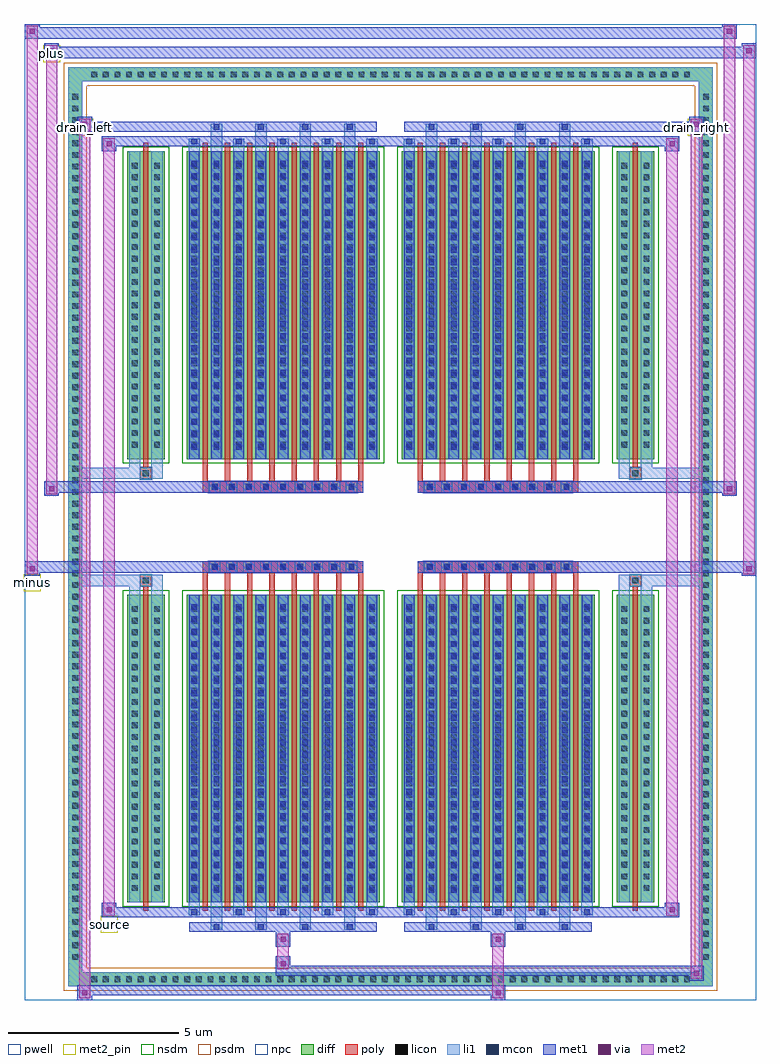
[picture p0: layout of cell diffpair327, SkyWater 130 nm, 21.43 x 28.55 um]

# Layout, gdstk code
import gdstk
lib = gdstk.Library(unit=1e-6, precision=5e-09)
def R(c, l, rs):  # rectangles x0, y0, x1, y1
    for r in rs: c.add(gdstk.rectangle(r[:2], r[2:], *l))
def A(c, l, x, y, w, h, nx, ny, dx, dy):  # array of equal rectangles
    R(c, l, [(x+i*dx, y+j*dy, x+i*dx+w, y+j*dy+h) for i in range(nx) for j in range(ny)])
def P(c, l, *ps):  # polygons
    for p in ps: c.add(gdstk.Polygon(p, *l))
pwell = (64, 44)
diff = (65, 20)
poly = (66, 20)
licon = (66, 44)
li1 = (67, 20)
mcon = (67, 44)
met1 = (68, 20)
via = (68, 44)
met2_pin = (69, 16)
met2 = (69, 20)
nsdm = (93, 44)
psdm = (94, 20)
npc = (95, 20)

diffpair327 = lib.new_cell('diffpair327')
R(diffpair327, pwell, [(-10.7,-13.84,10.7,14.71), (-8.02,-12.03,-0.01,-0.805), (0.01,-12.03,8.02,-0.805), (-8.02,0.805,-0.01,12.03), (0.01,0.805,8.02,12.03)])
A(diffpair327, diff, -8.875, -13.44, 0.41, 0.41, 52, 2, 0.34, 26.47)
A(diffpair327, diff, -9.43, -12.785, 0.41, 0.41, 1, 75, 0, 0.34)
A(diffpair327, diff, 9.02, -12.785, 0.41, 0.41, 1, 75, 0, 0.34)
R(diffpair327, diff, [(-8.875,-13.44,8.875,-13.03), (-9.43,-12.785,-9.02,12.785), (9.02,-12.785,9.43,12.785), (-7.71,-10.985,-6.61,-1.985), (-5.97,-10.985,-0.32,-1.985), (0.32,-10.985,5.97,-1.985), (6.61,-10.985,7.71,-1.985), (-7.71,1.985,-6.61,10.985), (-5.97,1.985,-0.32,10.985), (0.32,1.985,5.97,10.985), (6.61,1.985,7.71,10.985), (-8.875,13.03,8.875,13.44)])
P(diffpair327, diff, [(9.43,13.44),(-9.43,13.44),(-9.43,-13.03),(-9.02,-13.03),(-9.02,13.03),(9.02,13.03),(9.02,-13.03),(-9.02,-13.03),(-9.43,-13.03),(-9.43,-13.44),(9.43,-13.44)])
A(diffpair327, poly, -5.495, -11.235, 0.15, 9.5, 8, 2, 0.65, 12.97)
A(diffpair327, poly, 0.795, -11.235, 0.15, 9.5, 8, 2, 0.65, 12.97)
A(diffpair327, poly, -5.495, -1.735, 0.15, 0.4, 8, 2, 0.65, 3.07)
A(diffpair327, poly, 0.795, -1.735, 0.15, 0.4, 8, 2, 0.65, 3.07)
A(diffpair327, poly, -5.31, -1.335, 0.33, 0.33, 9, 2, 0.5, 2.34)
A(diffpair327, poly, 0.98, -1.335, 0.33, 0.33, 9, 2, 0.5, 2.34)
R(diffpair327, poly, [(-7.235,-11.235,-7.085,-1.735), (7.085,-11.235,7.235,-1.735), (-7.325,-1.735,-6.995,-1.405), (-7.325,-1.735,-6.995,-1.405), (6.995,-1.735,7.325,-1.405), (6.995,-1.735,7.325,-1.405), (-5.495,-1.335,-0.795,-1.005), (0.795,-1.335,5.495,-1.005), (-5.495,1.005,-0.795,1.335), (0.795,1.005,5.495,1.335), (-7.325,1.405,-6.995,1.735), (-7.325,1.405,-6.995,1.735), (6.995,1.405,7.325,1.735), (6.995,1.405,7.325,1.735), (-7.235,1.735,-7.085,11.235), (7.085,1.735,7.235,11.235)])
A(diffpair327, licon, -8.755, -13.32, 0.17, 0.17, 52, 2, 0.34, 26.47)
A(diffpair327, licon, -9.31, -12.665, 0.17, 0.17, 1, 75, 0, 0.34)
A(diffpair327, licon, 9.14, -12.665, 0.17, 0.17, 1, 75, 0, 0.34)
A(diffpair327, licon, -7.57, -10.65, 0.17, 0.17, 1, 25, 0, 0.34)
A(diffpair327, licon, -6.92, -10.65, 0.17, 0.17, 1, 25, 0, 0.34)
A(diffpair327, licon, -5.83, -10.65, 0.17, 0.17, 9, 25, 0.65, 0.34)
A(diffpair327, licon, 0.46, -10.65, 0.17, 0.17, 9, 25, 0.65, 0.34)
A(diffpair327, licon, 6.75, -10.65, 0.17, 0.17, 1, 25, 0, 0.34)
A(diffpair327, licon, 7.4, -10.65, 0.17, 0.17, 1, 25, 0, 0.34)
A(diffpair327, licon, -5.23, -1.255, 0.17, 0.17, 9, 2, 0.5, 2.34)
A(diffpair327, licon, 1.06, -1.255, 0.17, 0.17, 9, 2, 0.5, 2.34)
A(diffpair327, licon, -7.57, 2.32, 0.17, 0.17, 1, 25, 0, 0.34)
A(diffpair327, licon, -6.92, 2.32, 0.17, 0.17, 1, 25, 0, 0.34)
A(diffpair327, licon, -5.83, 2.32, 0.17, 0.17, 9, 25, 0.65, 0.34)
A(diffpair327, licon, 0.46, 2.32, 0.17, 0.17, 9, 25, 0.65, 0.34)
A(diffpair327, licon, 6.75, 2.32, 0.17, 0.17, 1, 25, 0, 0.34)
A(diffpair327, licon, 7.4, 2.32, 0.17, 0.17, 1, 25, 0, 0.34)
R(diffpair327, licon, [(-7.245,-1.655,-7.075,-1.485), (7.075,-1.655,7.245,-1.485), (-7.245,1.485,-7.075,1.655), (7.075,1.485,7.245,1.655)])
A(diffpair327, li1, -8.835, -13.4, 0.33, 0.33, 52, 2, 0.34, 26.47)
A(diffpair327, li1, -9.39, -12.745, 0.33, 0.33, 1, 75, 0, 0.34)
A(diffpair327, li1, 9.06, -12.745, 0.33, 0.33, 1, 75, 0, 0.34)
A(diffpair327, li1, -5.26, -11.79, 0.33, 0.805, 4, 2, 1.3, 22.775)
A(diffpair327, li1, -5.18, -11.79, 0.17, 0.17, 4, 2, 1.3, 23.41)
A(diffpair327, li1, 1.03, -11.79, 0.33, 0.805, 4, 2, 1.3, 22.775)
A(diffpair327, li1, 1.11, -11.79, 0.17, 0.17, 4, 2, 1.3, 23.41)
A(diffpair327, li1, -5.91, -11.36, 0.33, 0.375, 5, 2, 1.3, 22.345)
A(diffpair327, li1, -5.83, -11.36, 0.17, 0.17, 5, 2, 1.3, 22.55)
A(diffpair327, li1, 0.38, -11.36, 0.33, 0.375, 5, 2, 1.3, 22.345)
A(diffpair327, li1, 0.46, -11.36, 0.17, 0.17, 5, 2, 1.3, 22.55)
A(diffpair327, li1, -5.91, -10.985, 0.33, 9, 9, 2, 0.65, 12.97)
A(diffpair327, li1, 0.38, -10.985, 0.33, 9, 9, 2, 0.65, 12.97)
A(diffpair327, li1, -7.65, -10.73, 0.33, 0.33, 1, 25, 0, 0.34)
A(diffpair327, li1, -7, -10.73, 0.33, 0.33, 1, 25, 0, 0.34)
A(diffpair327, li1, -5.91, -10.73, 0.33, 0.33, 9, 25, 0.65, 0.34)
A(diffpair327, li1, 0.38, -10.73, 0.33, 0.33, 9, 25, 0.65, 0.34)
A(diffpair327, li1, 6.67, -10.73, 0.33, 0.33, 1, 25, 0, 0.34)
A(diffpair327, li1, 7.32, -10.73, 0.33, 0.33, 1, 25, 0, 0.34)
A(diffpair327, li1, -5.83, -10.71, 0.17, 0.17, 9, 24, 0.65, 0.36)
A(diffpair327, li1, -5.83, -10.71, 0.17, 8.45, 9, 2, 0.65, 12.97)
A(diffpair327, li1, 0.46, -10.71, 0.17, 0.17, 9, 24, 0.65, 0.36)
A(diffpair327, li1, 0.46, -10.71, 0.17, 8.45, 9, 2, 0.65, 12.97)
A(diffpair327, li1, -5.31, -1.335, 0.33, 0.33, 9, 2, 0.5, 2.34)
A(diffpair327, li1, 0.98, -1.335, 0.33, 0.33, 9, 2, 0.5, 2.34)
A(diffpair327, li1, -7.65, 2.24, 0.33, 0.33, 1, 25, 0, 0.34)
A(diffpair327, li1, -7, 2.24, 0.33, 0.33, 1, 25, 0, 0.34)
A(diffpair327, li1, -5.91, 2.24, 0.33, 0.33, 9, 25, 0.65, 0.34)
A(diffpair327, li1, 0.38, 2.24, 0.33, 0.33, 9, 25, 0.65, 0.34)
A(diffpair327, li1, 6.67, 2.24, 0.33, 0.33, 1, 25, 0, 0.34)
A(diffpair327, li1, 7.32, 2.24, 0.33, 0.33, 1, 25, 0, 0.34)
A(diffpair327, li1, -5.83, 2.26, 0.17, 0.17, 9, 24, 0.65, 0.36)
A(diffpair327, li1, 0.46, 2.26, 0.17, 0.17, 9, 24, 0.65, 0.36)
R(diffpair327, li1, [(-9.43,-13.44,-9.02,-13.03), (-9.43,-13.44,-9.02,-13.03), (-9.02,-13.44,9.02,-13.03), (9.02,-13.44,9.43,-13.03), (9.02,-13.44,9.43,-13.03), (-9.43,-13.03,-9.02,13.03), (9.02,-13.03,9.43,13.03), (-7.65,-10.985,-7.32,-1.985), (-7,-10.985,-6.67,-1.985), (6.67,-10.985,7,-1.985), (7.32,-10.985,7.65,-1.985), (-7.65,-1.985,-7.32,-1.405), (-7,-1.985,-6.67,-1.405), (6.67,-1.985,7,-1.405), (7.32,-1.985,7.65,-1.405), (-9.43,-1.735,-7.325,-1.405), (-7.65,-1.735,-7.325,-1.405), (-7.325,-1.735,-6.995,-1.405), (-6.995,-1.735,-6.67,-1.405), (6.67,-1.735,6.995,-1.405), (6.995,-1.735,7.325,-1.405), (6.995,-1.735,9.43,-1.405), (7.325,-1.735,7.65,-1.405), (-9.43,1.405,-7.325,1.735), (-7.65,1.405,-7.325,1.735), (-7.65,1.405,-7.32,1.985), (-7.325,1.405,-6.995,1.735), (-7,1.405,-6.67,1.985), (-6.995,1.405,-6.67,1.735), (6.67,1.405,6.995,1.735), (6.67,1.405,7,1.985), (6.995,1.405,7.325,1.735), (6.995,1.405,9.43,1.735), (7.32,1.405,7.65,1.985), (7.325,1.405,7.65,1.735), (-7.65,1.985,-7.32,10.985), (-7,1.985,-6.67,10.985), (6.67,1.985,7,10.985), (7.32,1.985,7.65,10.985), (-9.43,13.03,-9.02,13.44), (-9.43,13.03,-9.02,13.44), (-9.02,13.03,9.02,13.44), (9.02,13.03,9.43,13.44), (9.02,13.03,9.43,13.44)])
A(diffpair327, mcon, -5.18, -11.79, 0.17, 0.17, 4, 2, 1.3, 23.41)
A(diffpair327, mcon, 1.11, -11.79, 0.17, 0.17, 4, 2, 1.3, 23.41)
A(diffpair327, mcon, -5.83, -11.36, 0.17, 0.17, 5, 2, 1.3, 22.55)
A(diffpair327, mcon, 0.46, -11.36, 0.17, 0.17, 5, 2, 1.3, 22.55)
A(diffpair327, mcon, -5.83, -10.71, 0.17, 0.17, 9, 24, 0.65, 0.36)
A(diffpair327, mcon, 0.46, -10.71, 0.17, 0.17, 9, 24, 0.65, 0.36)
A(diffpair327, mcon, -5.23, -1.255, 0.17, 0.17, 9, 2, 0.5, 2.34)
A(diffpair327, mcon, 1.06, -1.255, 0.17, 0.17, 9, 2, 0.5, 2.34)
A(diffpair327, mcon, -5.83, 2.26, 0.17, 0.17, 9, 24, 0.65, 0.36)
A(diffpair327, mcon, 0.46, 2.26, 0.17, 0.17, 9, 24, 0.65, 0.36)
A(diffpair327, met1, -5.24, -11.85, 0.29, 0.29, 4, 2, 1.3, 23.41)
A(diffpair327, met1, 1.05, -11.85, 0.29, 0.29, 4, 2, 1.3, 23.41)
A(diffpair327, met1, -5.89, -11.42, 0.29, 0.29, 5, 2, 1.3, 22.55)
A(diffpair327, met1, 0.4, -11.42, 0.29, 0.29, 5, 2, 1.3, 22.55)
A(diffpair327, met1, -5.89, -10.985, 0.29, 9, 9, 2, 0.65, 12.97)
A(diffpair327, met1, 0.4, -10.985, 0.29, 9, 9, 2, 0.65, 12.97)
A(diffpair327, met1, -5.89, -10.77, 0.29, 0.29, 9, 24, 0.65, 0.36)
A(diffpair327, met1, 0.4, -10.77, 0.29, 0.29, 9, 24, 0.65, 0.36)
A(diffpair327, met1, -5.29, -1.315, 0.29, 0.29, 9, 2, 0.5, 2.34)
A(diffpair327, met1, 1, -1.315, 0.29, 0.29, 9, 2, 0.5, 2.34)
A(diffpair327, met1, -5.89, 2.2, 0.29, 0.29, 9, 24, 0.65, 0.36)
A(diffpair327, met1, 0.4, 2.2, 0.29, 0.29, 9, 24, 0.65, 0.36)
R(diffpair327, met1, [(-9.16,-13.84,-8.73,-13.41), (2.93,-13.84,3.36,-13.41), (-9.16,-13.7,3.36,-13.41), (8.73,-13.27,9.16,-12.84), (-3.36,-13.13,9.16,-12.84), (-3.36,-12.99,-2.93,-12.56), (-3.36,-12.28,-2.93,-11.85), (2.93,-12.28,3.36,-11.85), (-5.89,-11.85,-0.4,-11.56), (0.4,-11.85,5.89,-11.56), (-8.45,-11.42,-8.02,-10.99), (-8.45,-11.42,-5.89,-11.13), (-5.89,-11.42,-0.4,-11.13), (-0.4,-11.42,0.4,-11.13), (0.4,-11.42,5.89,-11.13), (5.89,-11.42,8.45,-11.13), (8.02,-11.42,8.45,-10.99), (-10.7,-1.435,-10.27,-1.005), (10.27,-1.435,10.7,-1.005), (-10.7,-1.335,-0.795,-1.005), (-5.495,-1.335,-0.795,-1.005), (0.795,-1.335,5.495,-1.005), (0.795,-1.335,10.7,-1.005), (-10.13,0.905,-9.7,1.335), (9.7,0.905,10.13,1.335), (-10.13,1.005,-5.495,1.335), (-5.495,1.005,-0.795,1.335), (0.795,1.005,5.495,1.335), (5.495,1.005,10.13,1.335), (-8.45,10.99,-8.02,11.42), (8.02,10.99,8.45,11.42), (-8.45,11.13,-5.89,11.42), (-5.89,11.13,-0.4,11.42), (-0.4,11.13,0.4,11.42), (0.4,11.13,5.89,11.42), (5.89,11.13,8.45,11.42), (-9.16,11.56,-8.73,11.99), (-9.16,11.56,-5.89,11.85), (-5.89,11.56,-0.4,11.85), (0.4,11.56,5.89,11.85), (5.89,11.56,9.16,11.85), (8.73,11.56,9.16,11.99), (-10.13,13.71,-9.7,14.14), (-10.13,13.71,-8.02,14.04), (-8.02,13.71,8.02,14.04), (8.02,13.71,10.7,14.04), (10.27,13.71,10.7,14.14), (-10.7,14.28,-10.27,14.71), (-10.7,14.28,-8.02,14.61), (-8.02,14.28,8.02,14.61), (8.02,14.28,10.13,14.61), (9.7,14.28,10.13,14.71)])
R(diffpair327, via, [(-9.02,-13.7,-8.87,-13.55), (3.07,-13.7,3.22,-13.55), (8.87,-13.13,9.02,-12.98), (-3.22,-12.85,-3.07,-12.7), (-3.22,-12.14,-3.07,-11.99), (3.07,-12.14,3.22,-11.99), (-8.31,-11.28,-8.16,-11.13), (8.16,-11.28,8.31,-11.13), (-10.56,-1.295,-10.41,-1.145), (10.41,-1.295,10.56,-1.145), (-9.99,1.045,-9.84,1.195), (9.84,1.045,9.99,1.195), (-8.31,11.13,-8.16,11.28), (8.16,11.13,8.31,11.28), (-9.02,11.7,-8.87,11.85), (8.87,11.7,9.02,11.85), (-9.99,13.85,-9.84,14), (10.41,13.85,10.56,14), (-10.56,14.42,-10.41,14.57), (9.84,14.42,9.99,14.57)])
R(diffpair327, met2_pin, [(-8.485,-11.87,-7.985,-11.37), (-10.735,-1.885,-10.235,-1.385), (-9.195,11.44,-8.695,11.94), (8.695,11.44,9.195,11.94), (-10.165,13.59,-9.665,14.09)])
R(diffpair327, met2, [(-9.11,-13.79,-8.78,-13.46), (-9.11,-13.79,-8.78,11.94), (2.98,-13.79,3.31,-13.46), (2.98,-13.46,3.31,-12.23), (8.78,-13.22,9.11,-12.89), (8.78,-13.22,9.11,11.94), (-3.31,-12.94,-2.98,-12.61), (-3.31,-12.61,-2.98,-12.23), (-3.31,-12.23,-2.98,-11.9), (2.98,-12.23,3.31,-11.9), (-8.4,-11.37,-8.07,-11.04), (-8.4,-11.37,-8.07,11.37), (8.07,-11.37,8.4,-11.04), (8.07,-11.37,8.4,11.37), (-10.65,-1.385,-10.32,-1.055), (-10.65,-1.385,-10.32,14.66), (10.32,-1.385,10.65,-1.055), (10.32,-1.385,10.65,14.09), (-10.08,0.955,-9.75,1.285), (-10.08,0.955,-9.75,14.09), (9.75,0.955,10.08,1.285), (9.75,0.955,10.08,14.66), (-8.4,11.04,-8.07,11.37), (8.07,11.04,8.4,11.37), (-9.11,11.61,-8.78,11.94), (8.78,11.61,9.11,11.94), (-10.08,13.76,-9.75,14.09), (10.32,13.76,10.65,14.09), (-10.65,14.33,-10.32,14.66), (9.75,14.33,10.08,14.66)])
P(diffpair327, met2, [(10.65,-1.385),(10.65,-1.385),(10.65,-1.055),(10.65,-1.055)],
  [(10.65,13.76),(10.65,13.76),(10.65,14.09),(10.65,14.09)],
  [(-10.32,-1.385),(-10.32,-1.385),(-10.32,-1.055),(-10.32,-1.055)],
  [(-10.32,14.33),(-10.32,14.33),(-10.32,14.66),(-10.32,14.66)],
  [(10.08,0.955),(10.08,0.955),(10.08,1.285),(10.08,1.285)],
  [(10.08,14.33),(10.08,14.33),(10.08,14.66),(10.08,14.66)],
  [(-9.75,0.955),(-9.75,0.955),(-9.75,1.285),(-9.75,1.285)],
  [(-9.75,13.76),(-9.75,13.76),(-9.75,14.09),(-9.75,14.09)],
  [(-8.78,-13.79),(-8.78,-13.79),(-8.78,-13.46),(-8.78,-13.46)],
  [(-8.78,11.61),(-8.78,11.61),(-8.78,11.94),(-8.78,11.94)],
  [(9.11,-13.22),(9.11,-13.22),(9.11,-12.89),(9.11,-12.89)],
  [(9.11,11.61),(9.11,11.61),(9.11,11.94),(9.11,11.94)],
  [(-8.07,-11.37),(-8.07,-11.37),(-8.07,-11.04),(-8.07,-11.04)],
  [(-8.07,11.04),(-8.07,11.04),(-8.07,11.37),(-8.07,11.37)],
  [(8.4,-11.37),(8.4,-11.37),(8.4,-11.04),(8.4,-11.04)],
  [(8.4,11.04),(8.4,11.04),(8.4,11.37),(8.4,11.37)])
R(diffpair327, nsdm, [(-7.84,-11.115,-6.48,-1.855), (-6.1,-11.115,-0.19,-1.855), (0.19,-11.115,6.1,-1.855), (6.48,-11.115,7.84,-1.855), (-7.84,1.855,-6.48,11.115), (-6.1,1.855,-0.19,11.115), (0.19,1.855,6.1,11.115), (6.48,1.855,7.84,11.115)])
P(diffpair327, psdm, [(9.56,13.57),(-9.56,13.57),(-9.56,-12.9),(-8.89,-12.9),(-8.89,12.9),(8.89,12.9),(8.89,-12.9),(-8.89,-12.9),(-9.56,-12.9),(-9.56,-13.57),(9.56,-13.57)])
A(diffpair327, npc, -5.33, -1.355, 0.37, 0.37, 9, 2, 0.5, 2.34)
A(diffpair327, npc, 0.96, -1.355, 0.37, 0.37, 9, 2, 0.5, 2.34)
R(diffpair327, npc, [(-7.345,-1.755,-6.975,-1.385), (6.975,-1.755,7.345,-1.385), (-5.33,-1.355,-4.46,-0.985), (-5.33,-1.355,-4.46,-0.985), (-4.83,-1.355,-3.96,-0.985), (-4.83,-1.355,-3.96,-0.985), (-4.33,-1.355,-3.46,-0.985), (-4.33,-1.355,-3.46,-0.985), (-3.83,-1.355,-2.96,-0.985), (-3.83,-1.355,-2.96,-0.985), (-3.33,-1.355,-2.46,-0.985), (-3.33,-1.355,-2.46,-0.985), (-2.83,-1.355,-1.96,-0.985), (-2.83,-1.355,-1.96,-0.985), (-2.33,-1.355,-1.46,-0.985), (-2.33,-1.355,-1.46,-0.985), (-1.83,-1.355,-0.96,-0.985), (-1.83,-1.355,-0.96,-0.985), (0.96,-1.355,1.83,-0.985), (0.96,-1.355,1.83,-0.985), (1.46,-1.355,2.33,-0.985), (1.46,-1.355,2.33,-0.985), (1.96,-1.355,2.83,-0.985), (1.96,-1.355,2.83,-0.985), (2.46,-1.355,3.33,-0.985), (2.46,-1.355,3.33,-0.985), (2.96,-1.355,3.83,-0.985), (2.96,-1.355,3.83,-0.985), (3.46,-1.355,4.33,-0.985), (3.46,-1.355,4.33,-0.985), (3.96,-1.355,4.83,-0.985), (3.96,-1.355,4.83,-0.985), (4.46,-1.355,5.33,-0.985), (4.46,-1.355,5.33,-0.985), (-5.33,0.985,-4.46,1.355), (-5.33,0.985,-4.46,1.355), (-4.83,0.985,-3.96,1.355), (-4.83,0.985,-3.96,1.355), (-4.33,0.985,-3.46,1.355), (-4.33,0.985,-3.46,1.355), (-3.83,0.985,-2.96,1.355), (-3.83,0.985,-2.96,1.355), (-3.33,0.985,-2.46,1.355), (-3.33,0.985,-2.46,1.355), (-2.83,0.985,-1.96,1.355), (-2.83,0.985,-1.96,1.355), (-2.33,0.985,-1.46,1.355), (-2.33,0.985,-1.46,1.355), (-1.83,0.985,-0.96,1.355), (-1.83,0.985,-0.96,1.355), (0.96,0.985,1.83,1.355), (0.96,0.985,1.83,1.355), (1.46,0.985,2.33,1.355), (1.46,0.985,2.33,1.355), (1.96,0.985,2.83,1.355), (1.96,0.985,2.83,1.355), (2.46,0.985,3.33,1.355), (2.46,0.985,3.33,1.355), (2.96,0.985,3.83,1.355), (2.96,0.985,3.83,1.355), (3.46,0.985,4.33,1.355), (3.46,0.985,4.33,1.355), (3.96,0.985,4.83,1.355), (3.96,0.985,4.83,1.355), (4.46,0.985,5.33,1.355), (4.46,0.985,5.33,1.355), (-7.345,1.385,-6.975,1.755), (6.975,1.385,7.345,1.755)])
diffpair327.add(gdstk.Label('minus', (-10.485,-1.635), layer=69, texttype=5))
diffpair327.add(gdstk.Label('drain_right', (8.945,11.69), layer=69, texttype=5))
diffpair327.add(gdstk.Label('drain_left', (-8.945,11.69), layer=69, texttype=5))
diffpair327.add(gdstk.Label('source', (-8.235,-11.62), layer=69, texttype=5))
diffpair327.add(gdstk.Label('plus', (-9.915,13.84), layer=69, texttype=5))

lib.write_gds('diffpair327.gds')
